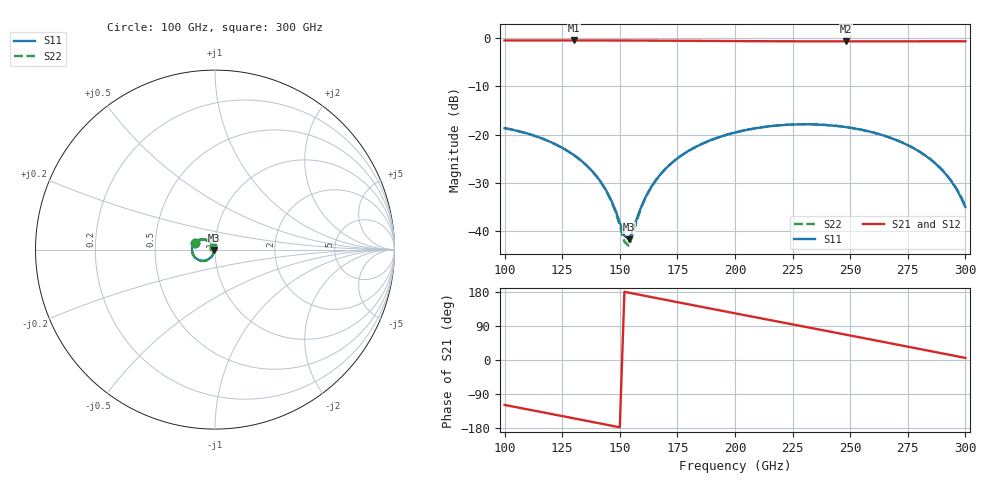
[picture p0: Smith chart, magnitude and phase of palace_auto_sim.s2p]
#  GHZ S DB R 50
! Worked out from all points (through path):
!   101 points, 100 GHz to 300 GHz, reference 50 ohm
!   highest |S21| = -0.45 dB at 130 GHz (marker M1); lowest = -0.6 dB at 248 GHz (marker M2)
!   group delay of S21, straight-line fit = 3.27 ps
!   lowest |S11| = -41.7 dB at 154 GHz (marker M3), VSWR 1.02, Z = 49.2 - j0.191 ohm
!   |S11| at or under -10 dB: start of sweep to end of sweep
!   |S22| runs from -43.2 to -17.9 dB; largest |S21 - S12| = 1.1e-14
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100  -18.67 161.2  -0.45 -118.6  -0.45 -118.6  -18.68 161.1
116  -20.78 143.0  -0.45 -137.4  -0.45 -137.4  -20.78 142.7
130  -24.25 128.7  -0.45 -153.9  -0.45 -153.9  -24.27 128.0
134  -25.73 125.3  -0.45 -158.7  -0.45 -158.7  -25.76 124.3
140  -28.71 121.7  -0.45 -165.8  -0.45 -165.8  -28.78 120.2
144  -31.53 121.9  -0.45 -170.5  -0.45 -170.5  -31.66 119.7
148  -35.58 128.2  -0.45 -175.3  -0.45 -175.3  -35.91 124.7
152  -41.06 159.4  -0.46 180.0  -0.46 180.0  -42.30 156.0
154  -41.75 -166.3  -0.46 177.6  -0.46 177.6  -43.21 -163.2
160  -34.20 -119.3  -0.47 170.4  -0.47 170.4  -34.40 -115.1
164  -30.61 -115.6  -0.48 165.7  -0.48 165.7  -30.69 -112.6
168  -28.06 -116.3  -0.49 160.9  -0.49 160.9  -28.10 -113.9
182  -22.82 -127.5  -0.53 144.4  -0.53 144.4  -22.82 -125.9
200  -19.58 -146.0  -0.58 123.2  -0.58 123.2  -19.58 -144.7
218  -18.14 -165.3  -0.61 102.1  -0.61 102.1  -18.14 -164.1
234  -17.90 177.3  -0.63 83.4  -0.63 83.4  -17.89 178.5
248  -18.45 162.0  -0.63 67.0  -0.63 67.0  -18.44 163.3
268  -20.78 140.6  -0.63 43.5  -0.63 43.5  -20.76 142.0
280  -23.55 128.9  -0.62 29.3  -0.62 29.3  -23.52 130.6
288  -26.48 122.7  -0.62 19.7  -0.62 19.7  -26.43 124.8
294  -29.78 120.9  -0.62 12.6  -0.62 12.6  -29.70 123.5
300  -35.09 128.6  -0.62 5.4  -0.62 5.4  -34.83 132.1
